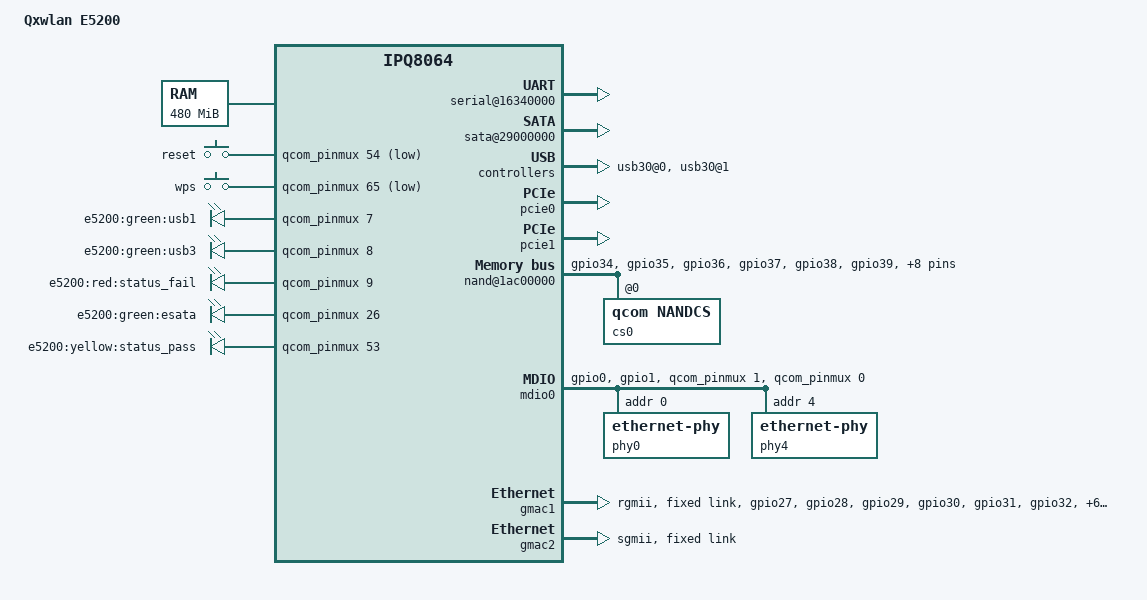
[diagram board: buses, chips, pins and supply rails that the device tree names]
/* SPDX-License-Identifier: GPL-2.0-or-later OR MIT
 *
 * Copyright (c) 2019 Peng Zhang <sd20@qxwlan.com>
 *
*/

#include "qcom-ipq8064-v1.0.dtsi"
#include <dt-bindings/input/input.h>

/ {
	model = "Qxwlan E5200";
	compatible = "qxwlan,e5200", "qcom,ipq8064";

	memory@42000000 {
		reg = <0x42000000 0x1e000000>;
		device_type = "memory";
	};

	reserved-memory {
		#address-cells = <1>;
		#size-cells = <1>;
		ranges;
		rsvd@41200000 {
			reg = <0x41200000 0x300000>;
			no-map;
		};
	};

	aliases {
		serial0 = &gsbi4_serial;
		mdio-gpio0 = &mdio0;

		led-boot = &status_pass;
		led-failsafe = &status_fail;
		led-running = &status_pass;
	};

	chosen {
		stdout-path = "serial0:115200n8";
	};

	soc {
		pinmux@800000 {
			button_pins: button_pins {
				mux {
					pins = "gpio54", "gpio65";
					function = "gpio";
					drive-strength = <2>;
					bias-pull-up;
				};
			};

			led_pins: led_pins {
				mux {
					pins = "gpio7", "gpio8", "gpio9",
						"gpio26", "gpio53";
					function = "gpio";
					drive-strength = <2>;
					bias-pull-up;
				};
			};

			i2c4_pins: i2c4_pinmux {
				pins = "gpio12", "gpio13";
				function = "gsbi4";
				bias-disable;
			};

			spi_pins: spi_pins {
				mux {
					pins = "gpio18", "gpio19", "gpio21";
					function = "gsbi5";
					drive-strength = <10>;
					bias-none;
				};
			};
			nand_pins: nand_pins {
				disable {
					pins = "gpio34", "gpio35", "gpio36",
					       "gpio37", "gpio38";
					function = "nand";
					drive-strength = <10>;
					bias-disable;
				};
				pullups {
					pins = "gpio39";
					function = "nand";
					drive-strength = <10>;
					bias-pull-up;
				};
				hold {
					pins = "gpio40", "gpio41", "gpio42",
					       "gpio43", "gpio44", "gpio45",
					       "gpio46", "gpio47";
					function = "nand";
					drive-strength = <10>;
					bias-bus-hold;
				};
			};

			mdio0_pins: mdio0_pins {
				mux {
					pins = "gpio0", "gpio1";
					function = "gpio";
					drive-strength = <8>;
					bias-disable;
				};
			};

			rgmii2_pins: rgmii2_pins {
				mux {
					pins = "gpio27", "gpio28", "gpio29", "gpio30",
						"gpio31", "gpio32","gpio51", "gpio52",
						"gpio59", "gpio60", "gpio61", "gpio62" ;
					function = "rgmii2";
					drive-strength = <8>;
					bias-disable;
				};
			};
		};

		gsbi@16300000 {
			qcom,mode = <GSBI_PROT_I2C_UART>;
			status = "ok";
			serial@16340000 {
				status = "ok";
			};
		};

		sata-phy@1b400000 {
			status = "ok";
		};

		sata@29000000 {
			status = "ok";
		};

		phy@100f8800 {
			status = "ok";
		};

		phy@100f8830 {
			status = "ok";
		};

		phy@110f8800 {
			status = "ok";
		};

		phy@110f8830 {
			status = "ok";
		};

		usb30@0 {
			status = "ok";
		};

		usb30@1 {
			status = "ok";
		};

		pcie0: pci@1b500000 {
			status = "ok";
		};

		pcie1: pci@1b700000 {
			status = "ok";
			force_gen1 = <1>;
		};

		nand@1ac00000 {
			status = "ok";

			pinctrl-0 = <&nand_pins>;
			pinctrl-names = "default";

			cs0 {
				reg = <0>;
				compatible = "qcom,nandcs";

				nand-ecc-strength = <4>;
				nand-bus-width = <8>;
				nand-ecc-step-size = <512>;

				partitions {
					compatible = "qcom,smem";
				};
			};
		};

		mdio0: mdio {
			compatible = "virtual,mdio-gpio";
			#address-cells = <1>;
			#size-cells = <0>;
			gpios = <&qcom_pinmux 1 GPIO_ACTIVE_HIGH>,
				<&qcom_pinmux 0 GPIO_ACTIVE_HIGH>;
			pinctrl-0 = <&mdio0_pins>;
			pinctrl-names = "default";

			phy0: ethernet-phy@0 {
				reg = <0>;
				qca,ar8327-initvals = <
					0x00004 0x7600000   /* PAD0_MODE */
					0x00008 0x1000000   /* PAD5_MODE */
					0x0000c 0x80        /* PAD6_MODE */
					0x000e4 0x6a545     /* MAC_POWER_SEL */
					0x000e0 0xc74164de  /* SGMII_CTRL */
					0x0007c 0x4e        /* PORT0_STATUS */
					0x00094 0x4e        /* PORT6_STATUS */
					>;
			};

			phy4: ethernet-phy@4 {
				reg = <4>;
				qca,ar8327-initvals = <
					0x000e4 0x6a545     /* MAC_POWER_SEL */
					0x0000c 0x80        /* PAD6_MODE */
					>;
			};
		};

		gmac1: ethernet@37200000 {
			status = "ok";
			phy-mode = "rgmii";
			qcom,id = <1>;

			pinctrl-0 = <&rgmii2_pins>;
			pinctrl-names = "default";

			fixed-link {
				speed = <1000>;
				full-duplex;
			};
		};

		gmac2: ethernet@37400000 {
			status = "ok";
			phy-mode = "sgmii";
			qcom,id = <2>;

			fixed-link {
				speed = <1000>;
				full-duplex;
			};
		};
	};

	keys {
		compatible = "gpio-keys";
		pinctrl-0 = <&button_pins>;
		pinctrl-names = "default";

		reset {
			label = "reset";
			gpios = <&qcom_pinmux 54 GPIO_ACTIVE_LOW>;
			linux,code = <KEY_RESTART>;
		};

		wps {
			label = "wps";
			gpios = <&qcom_pinmux 65 GPIO_ACTIVE_LOW>;
			linux,code = <KEY_WPS_BUTTON>;
		};

	};

	leds {
		compatible = "gpio-leds";
		pinctrl-0 = <&led_pins>;
		pinctrl-names = "default";

		usb1 {
			label = "e5200:green:usb1";
			gpios = <&qcom_pinmux 7 GPIO_ACTIVE_HIGH>;
			linux,default-trigger = "usbport";
			trigger-sources = <&hub_port0>;
		};

		usb3 {
			label = "e5200:green:usb3";
			gpios = <&qcom_pinmux 8 GPIO_ACTIVE_HIGH>;
			linux,default-trigger = "usbport";
			trigger-sources = <&hub_port1>;
		};

		status_fail: status_fail {
			label = "e5200:red:status_fail";
			gpios = <&qcom_pinmux 9 GPIO_ACTIVE_HIGH>;
		};

		esata {
			label = "e5200:green:esata";
			gpios = <&qcom_pinmux 26 GPIO_ACTIVE_HIGH>;
			linux,default-trigger = "disk-activity";
		};

		status_pass: status_pass {
			label = "e5200:yellow:status_pass";
			gpios = <&qcom_pinmux 53 GPIO_ACTIVE_HIGH>;
		};
	};
};

&dwc3_0 {
	#address-cells = <1>;
	#size-cells = <0>;

	hub_port0: port@1 {
		reg = <1>;
		#trigger-source-cells = <0>;
	};
};

&dwc3_1 {
        #address-cells = <1>;
        #size-cells = <0>;

        hub_port1: port@1 {
                reg = <1>;
                #trigger-source-cells = <0>;
        };
};

&adm_dma {
	status = "ok";
};
